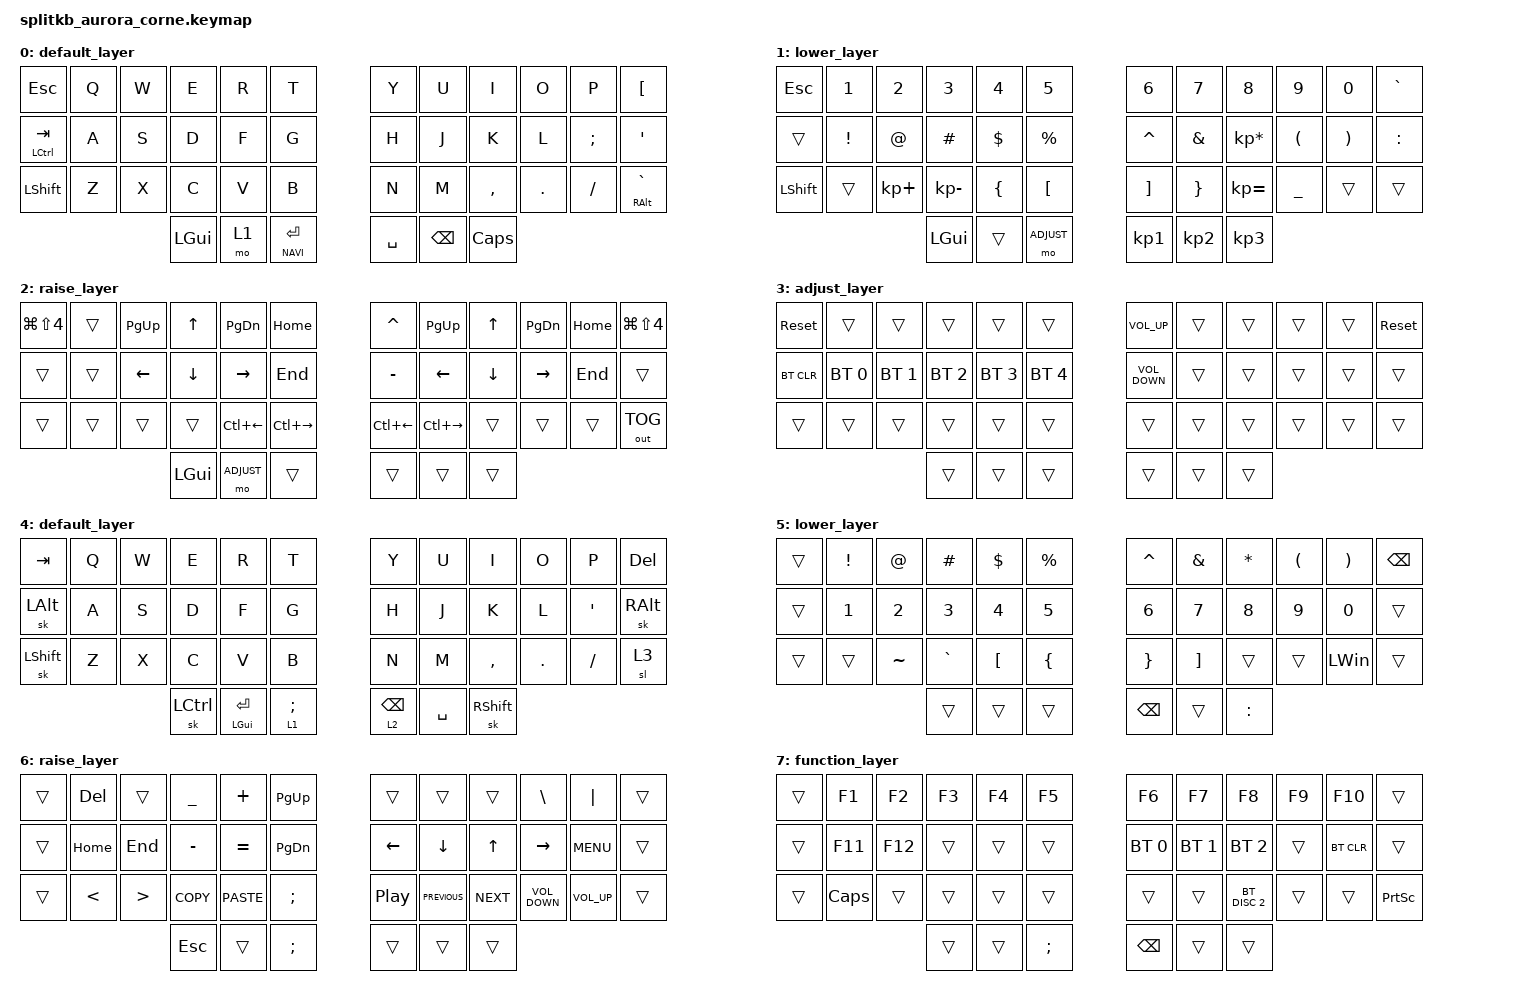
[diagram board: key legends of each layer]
/ {
    combos { compatible = "zmk,combos"; };#include <behaviors.dtsi>

#include <behaviors.dtsi>
#include <dt-bindings/zmk/bt.h>
#include <dt-bindings/zmk/keys.h>
#include <dt-bindings/zmk/outputs.h>

#define QWERTY 0
#define NUMB 1
#define NAVI 2
#define ADJUST 3

&lt {
    tapping-term-ms = <300>;
    quick_tap_ms = <200>;
    flavor = "hold-preferred";
};

/ {
    chosen { zmk,matrix_transform = &default_transform; };

    behaviors {
        hm: homerow_mods {
            compatible = "zmk,behavior-hold-tap";
            label = "HOMEROW_MODS";
            #binding-cells = <2>;
            tapping-term-ms = <150>;
            quick_tap_ms = <150>;
            flavor = "tap-preferred";
            bindings = <&kp>, <&kp>;
        };

        lm: left_hand_positional_hold_tap {
            compatible = "zmk,behavior-hold-tap";
            label = "LEFT_HOMEROW_MODS";
            #binding-cells = <2>;
            flavor = "tap-unless-interrupted";
            tapping-term-ms = <200>;
            quick-tap-ms = <200>;
            bindings = <&kp>, <&kp>;

            hold-trigger-key-positions = <5 6 7 8 9 15 16 17 18 19 25 26 27 28 29>;
        };

        rm: right_hand_positional_hold_tap {
            compatible = "zmk,behavior-hold-tap";
            label = "RIGHT_HOMEROW_MODS";
            #binding-cells = <2>;
            flavor = "tap-unless-interrupted";
            tapping-term-ms = <200>;
            quick-tap-ms = <200>;
            bindings = <&kp>, <&kp>;

            hold-trigger-key-positions = <0 1 2 3 4 10 11 12 13 14 20 21 22 23 24>;
        };
    };

    keymap {
        compatible = "zmk,keymap";

        default_layer {
            // .--------------------------------------------------------------.       .-----------------------------------------------------------.
            // |   ESC        |    Q    |    W   |   E    |    R    |    T    |       |   Y   |    U    |    I    |    O    |     P    |    \     |
            // |--------------+---------+--------+--------+---------+---------|       |-------+---------+---------+---------+----------+----------|
            // |   CTRL/Tab   |    A    |    S   |   D    |    F    |    G    |       |   H   |    J    |    K    |    L    |     ;    |     '    |
            // |--------------+---------+--------+--------+---------+---------|       |-------+---------+---------+---------+----------+----------|
            // |   SHFT       |    Z    |    X   |   C    |    V    |    B    |       |   N   |    M    |    ,    |    .    |     /    | ` | ALT  |
            // '---------------------------------+--------+---------+---------+       |-------+---------+---------+-------------------------------'
            //                                   |  GUI   |   MO1   |   ENT   |       |  SPC  |   BKSP  |  CAPS   |
            //                                   '--------+---------+---------'       '-------+---------+---------'

            bindings = <
&kp ESC        &kp Q  &kp W  &kp E     &kp R  &kp T           &kp Y      &kp U     &kp I         &kp O    &kp P     &kp LBKT
&mt LCTRL TAB  &kp A  &kp S  &kp D     &kp F  &kp G           &kp H      &kp J     &kp K         &kp L    &kp SEMI  &kp SQT
&kp LSHFT      &kp Z  &kp X  &kp C     &kp V  &kp B           &kp N      &kp M     &kp COMMA     &kp DOT  &kp FSLH  &mt RALT GRAVE
                             &kp LGUI  &mo 1  &lt NAVI RET    &kp SPACE  &kp BSPC  &kp CAPSLOCK
            >;
        };

        lower_layer {
            // .--------------------------------------------------------------.       .-----------------------------------------------------------.
            // |   ESC        |    1    |    2   |   3    |    4    |    5    |       |   6   |    7    |    8    |    9    |     0    |    `     |
            // |--------------+---------+--------+--------+---------+---------|       |-------+---------+---------+---------+----------+----------|
            // |              |    !    |    @   |   #    |    $    |    %    |       |   ^   |    &    |    *    |    (    |     )    |     :    |
            // |--------------+---------+--------+--------+---------+---------|       |-------+---------+---------+---------+----------+----------|
            // |   SHFT       |         |    +   |   -    |    {    |    [    |       |   ]   |    }    |    =    |    _    |          |          |
            // '---------------------------------+--------+---------+---------+       |-------+---------+---------+-------------------------------'
            //                                   |  GUI   |         |   MO3   |       |   ,   |    .    |   ?     |
            //                                   '--------+---------+---------'       '-------+---------+---------'

            bindings = <
&kp ESC    &kp N1    &kp N2       &kp N3        &kp N4          &kp N5              &kp N6             &kp N7           &kp N8           &kp N9          &kp N0    &kp GRAVE
&trans     &kp EXCL  &kp AT       &kp HASH      &kp DLLR        &kp PRCNT           &kp CARET          &kp AMPS         &kp KP_MULTIPLY  &kp LPAR        &kp RPAR  &kp COLON
&kp LSHFT  &trans    &kp KP_PLUS  &kp KP_MINUS  &kp LEFT_BRACE  &kp LEFT_BRACKET    &kp RIGHT_BRACKET  &kp RIGHT_BRACE  &kp KP_EQUAL     &kp UNDERSCORE  &trans    &trans
                                  &kp LGUI      &trans          &mo ADJUST          &kp KP_N1          &kp KP_N2        &kp KP_N3
            >;
        };

        raise_layer {
            // .----------------------------------------------------------------.       .-----------------------------------------------------------------.
            // |   CMD+SHIFT+4  |       |   PU   |   UP   |    PD    |   HOME   |       |  HOME   |    PU    |    UP   |   PD    |          | CMD+SHIFT+4 |
            // |----------------+-------+--------+--------+----------+----------|       |---------+----------+---------+---------+----------+-------------|
            // |                |       |  LEFT  |  DOWN  |   RIGHT  |   END    |       |  END    |   LEFT   |   DOWN  |  RIGHT  |          |             |
            // |----------------+-------+--------+--------+----------+----------|       |---------+----------+---------+---------+----------+-------------|
            // |     OUT_TOG    |       |        |        |CTRL+LEFT |CTRL+RIGHT|       |CTRL+LEFT|CTRL+RIGHT|         |         |          |   OUT_TOG   |
            // '---------------------------------+--------+----------+----------+       |---------+----------+---------+----------------------------------'
            //                                   |  GUI   |   MO3    |          |       |         |          |         |
            //                                   '--------+----------+----------'       '---------+----------+---------'

            bindings = <
&kp LG(LS(N4))  &trans  &kp PAGE_UP     &kp UP_ARROW    &kp PAGE_DOWN       &kp HOME               &kp CARET           &kp PAGE_UP          &kp UP_ARROW    &kp PAGE_DOWN    &kp HOME  &kp LG(LS(N4))
&trans          &trans  &kp LEFT_ARROW  &kp DOWN_ARROW  &kp RIGHT_ARROW     &kp END                &kp MINUS           &kp LEFT_ARROW       &kp DOWN_ARROW  &kp RIGHT_ARROW  &kp END   &trans
&trans          &trans  &trans          &trans          &kp LC(LEFT_ARROW)  &kp LC(RIGHT_ARROW)    &kp LC(LEFT_ARROW)  &kp LC(RIGHT_ARROW)  &trans          &trans           &trans    &out OUT_TOG
                                        &kp LGUI        &mo ADJUST          &trans                 &trans              &trans               &trans
            >;
        };

        adjust_layer {
            // .--------------------------------------------------------.       .--------------------------------------------------------------.
            // |         |        |        |        |         |         |       |  VOL+  |        |         |         |          |             |
            // |---------+--------+--------+--------+---------+---------|       |--------+--------+---------+---------+----------+-------------|
            // |  BTCLR  |  BT1   |  BT2   |  BT3   |  BT4    |  BT5    |       |  VOL-  |        |         |         |          |             |
            // |---------+--------+--------+--------+---------+---------|       |--------+--------+---------+---------+----------+-------------|
            // |         |        |        |        |         |         |       |        |        |         |         |          |             |
            // '---------------------------+--------+---------+---------+       |--------+--------+---------+----------------------------------'
            //                             |        |         |         |       |        |        |         |
            //                             '--------+---------+---------'       '--------+--------+---------'

            bindings = <
&sys_reset  &trans        &trans        &trans        &trans        &trans          &kp C_VOLUME_UP    &trans  &trans  &trans  &trans  &sys_reset
&bt BT_CLR  &bt BT_SEL 0  &bt BT_SEL 1  &bt BT_SEL 2  &bt BT_SEL 3  &bt BT_SEL 4    &kp C_VOLUME_DOWN  &trans  &trans  &trans  &trans  &trans
&trans      &trans        &trans        &trans        &trans        &trans          &trans             &trans  &trans  &trans  &trans  &trans
                                        &trans        &trans        &trans          &trans             &trans  &trans
            >;
        };
    };
};

keymap {
    compatible = "zmk,keymap";

    default_layer {
        bindings = <
&kp TAB    &kp Q  &kp W  &kp E      &kp R               &kp T         &kp Y            &kp U      &kp I            &kp O    &kp P             &kp DELETE
&sk LALT   &kp A  &kp S  &kp D      &kp F               &kp G         &kp H            &kp J      &kp K            &kp L    &kp SINGLE_QUOTE  &sk RIGHT_ALT
&sk LSHFT  &kp Z  &kp X  &kp C      &kp V               &kp B         &kp N            &kp M      &kp COMMA        &kp DOT  &kp FSLH          &sl 3
                         &sk LCTRL  &mt LEFT_GUI ENTER  &lt 1 SEMI    &lt 2 BACKSPACE  &kp SPACE  &sk RIGHT_SHIFT
        >;
    };

    lower_layer {
        bindings = <
&trans  &kp EXCLAMATION  &kp AT_SIGN   &kp POUND     &kp DOLLAR        &kp PERCENT       &kp CARET        &kp AMPERSAND      &kp ASTERISK  &kp LEFT_PARENTHESIS  &kp RIGHT_PARENTHESIS  &kp BSPC
&trans  &kp NUMBER_1     &kp NUMBER_2  &kp NUMBER_3  &kp NUMBER_4      &kp NUMBER_5      &kp NUMBER_6     &kp NUMBER_7       &kp NUMBER_8  &kp NUMBER_9          &kp NUMBER_0           &trans
&trans  &trans           &kp TILDE     &kp GRAVE     &kp LEFT_BRACKET  &kp LEFT_BRACE    &kp RIGHT_BRACE  &kp RIGHT_BRACKET  &trans        &trans                &kp LEFT_WIN           &trans
                                       &trans        &trans            &trans            &kp BACKSPACE    &trans             &kp COLON
        >;
    };

    raise_layer {
        bindings = <
&trans  &kp DELETE     &trans            &kp UNDERSCORE  &kp PLUS     &kp PAGE_UP      &trans            &trans          &trans        &kp BACKSLASH      &kp PIPE         &trans
&trans  &kp HOME       &kp END           &kp MINUS       &kp EQUAL    &kp PAGE_DOWN    &kp LEFT          &kp DOWN        &kp UP_ARROW  &kp RIGHT          &kp K_MENU       &trans
&trans  &kp LESS_THAN  &kp GREATER_THAN  &kp K_COPY      &kp K_PASTE  &kp SEMICOLON    &kp C_PLAY_PAUSE  &kp C_PREVIOUS  &kp C_NEXT    &kp C_VOLUME_DOWN  &kp C_VOLUME_UP  &trans
                                         &kp ESCAPE      &trans       &kp SEMI         &trans            &trans          &trans
        >;
    };

    function_layer {
        bindings = <
&trans  &kp F1    &kp F2   &kp F3  &kp F4  &kp F5      &kp F6         &kp F7        &kp F8         &kp F9  &kp F10     &trans
&trans  &kp F11   &kp F12  &trans  &trans  &trans      &bt BT_SEL 0   &bt BT_SEL 1  &bt BT_SEL 2   &trans  &bt BT_CLR  &trans
&trans  &kp CAPS  &trans   &trans  &trans  &trans      &trans         &trans        &bt BT_DISC 2  &trans  &trans      &kp PRINTSCREEN
                           &trans  &trans  &kp SEMI    &kp BACKSPACE  &trans        &trans
        >;
    };
};

};
